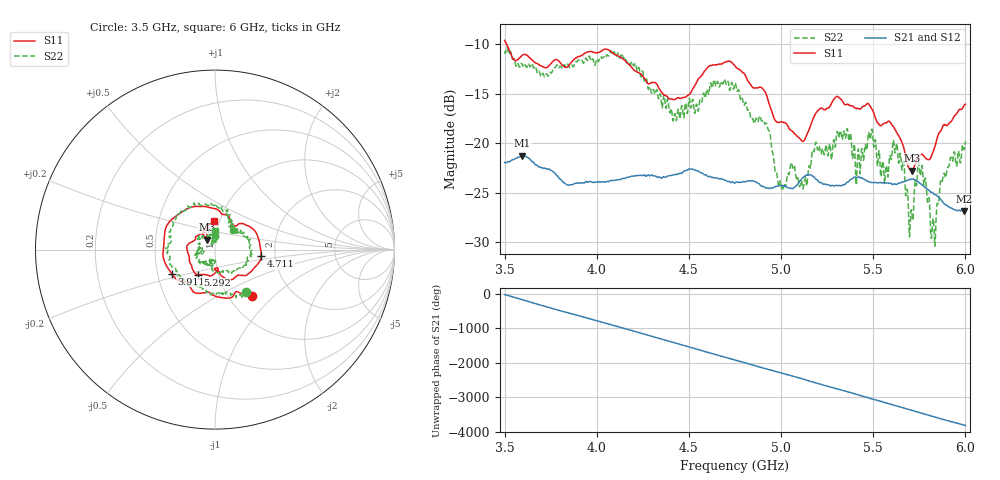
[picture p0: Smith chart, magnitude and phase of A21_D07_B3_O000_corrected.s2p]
! Created with skrf 1.9.0 (http://scikit-rf.org).
# Hz S RI R 50.0
!freq ReS11 ImS11 ReS21 ImS21 ReS12 ImS12 ReS22 ImS22
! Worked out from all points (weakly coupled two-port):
!   1601 points, 3.5 GHz to 6 GHz, reference 50 ohm
!   highest |S21| = -21.26 dB at 3.595 GHz (marker M1); lowest = -26.8 dB at 5.994 GHz (marker M2)
!   lowest |S11| = -22.7 dB at 5.711 GHz (marker M3), VSWR 1.16, Z = 45.3 + j5.11 ohm
!   |S11| at or under -10 dB: 3.512 GHz to end of sweep
!   |S22| runs from -30.4 to -10.3 dB; largest |S21 - S12| = 0.00098
!   S11 on the Smith chart (normalised r, x): 3.5 GHz: 1.27, -0.74; 3.911 GHz: 0.59, -0.17; 4.711 GHz: 1.68, -0.14; 5.292 GHz: 0.79, -0.23; 6 GHz: 0.94, +0.30
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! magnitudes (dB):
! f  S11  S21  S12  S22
! 3.5 GHz  -9.6  -21.9  -21.9  -10.7
! 3.595 GHz  -11.1  -21.3  -21.3  -12.0
! 3.911 GHz  -11.2  -24.0  -24.0  -11.7
! 3.917 GHz  -11.1  -24.0  -24.0  -11.6
! 4.142 GHz  -11.5  -23.5  -23.5  -11.3
! 4.334 GHz  -14.3  -23.4  -23.4  -15.5
! 4.423 GHz  -15.6  -23.2  -23.2  -17.0
! 4.711 GHz  -11.7  -23.9  -23.8  -13.7
! 4.75 GHz  -12.2  -24.0  -23.9  -13.9
! 4.928 GHz  -15.6  -24.5  -24.5  -18.5
! 4.998 GHz  -17.8  -24.3  -24.2  -23.9
! 5.167 GHz  -17.8  -23.3  -23.2  -21.1
! 5.292 GHz  -15.4  -24.3  -24.3  -20.3
! 5.486 GHz  -16.3  -23.9  -23.9  -19.4
! 5.584 GHz  -17.8  -24.0  -24.0  -22.4
! 5.619 GHz  -18.6  -24.1  -24.1  -21.0
! 5.711 GHz  -22.7  -23.6  -23.6  -27.2
! 5.755 GHz  -21.2  -24.1  -24.0  -23.2
! 5.827 GHz  -20.8  -25.1  -25.0  -27.6
! 5.875 GHz  -18.4  -25.9  -25.8  -23.8
! 5.994 GHz  -16.1  -26.8  -26.7  -20.6
! 6 GHz  -16.0  -26.8  -26.8  -19.8
